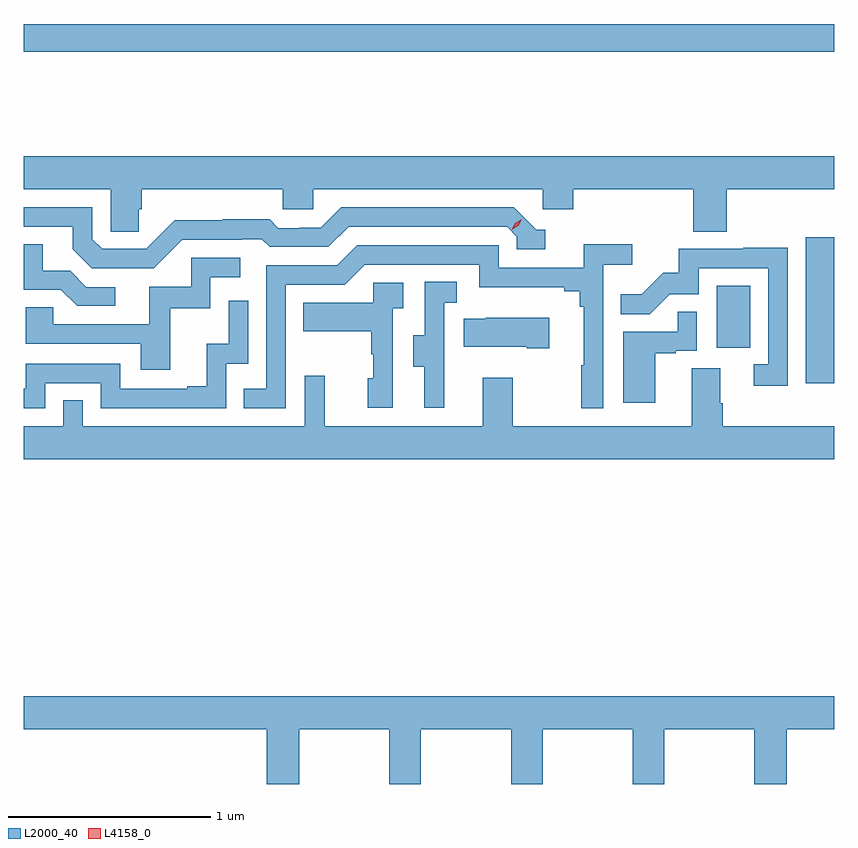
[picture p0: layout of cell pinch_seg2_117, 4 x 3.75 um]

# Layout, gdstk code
import gdstk
lib = gdstk.Library(unit=1e-6, precision=1e-09)
def R(c, l, rs):  # rectangles x0, y0, x1, y1
    for r in rs: c.add(gdstk.rectangle(r[:2], r[2:], *l))
def P(c, l, *ps):  # polygons
    for p in ps: c.add(gdstk.Polygon(p, *l))
L2000_40 = (2000, 40)
L4158_0 = (4158, 0)

pinch_seg2_117 = lib.new_cell('pinch_seg2_117')
R(pinch_seg2_117, L2000_40, [(1026.716,630.696,1026.858,631.417), (1026.278,630.87,1026.442,631.177), (1022.858,632.332,1026.858,632.468)])
P(pinch_seg2_117, L2000_40, [(1023.425,631.554),(1023.44,631.554),(1023.44,631.652),(1024.137,631.652),(1024.137,631.554),(1024.287,631.554),(1024.287,631.652),(1025.418,631.652),(1025.418,631.554),(1025.57,631.554),(1025.57,631.652),(1026.161,631.652),(1026.161,631.444),(1026.326,631.444),(1026.326,631.652),(1026.858,631.652),(1026.858,631.816),(1022.858,631.816),(1022.858,631.652),(1023.288,631.652),(1023.288,631.444),(1023.425,631.444)],
  [(1023.642,631.404),(1023.935,631.404),(1023.935,631.407),(1024.034,631.407),(1024.073,631.368),(1024.362,631.368),(1024.461,631.467),(1025.244,631.467),(1025.292,631.419),(1025.292,631.356),(1025.431,631.356),(1025.431,631.452),(1025.388,631.452),(1025.277,631.563),(1024.424,631.563),(1024.325,631.464),(1024.218,631.464),(1024.218,631.461),(1024.115,631.461),(1024.073,631.504),(1023.84,631.504),(1023.84,631.501),(1023.604,631.501),(1023.462,631.359),(1023.246,631.359),(1023.198,631.407),(1023.198,631.563),(1022.858,631.563),(1022.858,631.467),(1023.101,631.467),(1023.101,631.357),(1023.195,631.263),(1023.501,631.263)],
  [(1024.152,631.182),(1024.443,631.182),(1024.542,631.281),(1025.106,631.281),(1025.106,631.169),(1025.525,631.169),(1025.525,631.15),(1025.602,631.15),(1025.602,631.073),(1025.621,631.073),(1025.621,630.785),(1025.61,630.785),(1025.61,630.573),(1025.718,630.573),(1025.718,631.28),(1025.86,631.28),(1025.86,631.382),(1025.621,631.382),(1025.621,631.266),(1025.202,631.266),(1025.202,631.377),(1024.505,631.377),(1024.406,631.278),(1024.056,631.278),(1024.056,630.669),(1023.943,630.669),(1023.943,630.573),(1024.152,630.573)],
  [(1023.31,631.17),(1023.168,631.17),(1023.088,631.25),(1022.953,631.25),(1022.953,631.382),(1022.858,631.382),(1022.858,631.158),(1023.041,631.158),(1023.122,631.077),(1023.31,631.077)],
  [(1026.627,631.364),(1026.409,631.364),(1026.409,631.359),(1026.091,631.359),(1026.091,631.242),(1026.014,631.242),(1025.907,631.135),(1025.803,631.135),(1025.803,631.036),(1025.947,631.036),(1026.045,631.134),(1026.189,631.134),(1026.189,631.263),(1026.531,631.263),(1026.531,630.789),(1026.459,630.789),(1026.459,630.684),(1026.627,630.684)],
  [(1023.581,631.065),(1023.78,631.065),(1023.78,631.218),(1023.928,631.218),(1023.928,631.314),(1023.684,631.314),(1023.684,631.173),(1023.479,631.173),(1023.479,630.987),(1023.005,630.987),(1023.005,631.071),(1022.868,631.071),(1022.868,630.891),(1023.437,630.891),(1023.437,630.762),(1023.581,630.762)],
  [(1024.934,630.789),(1024.932,630.789),(1024.932,631.093),(1024.996,631.093),(1024.996,631.196),(1024.836,631.196),(1024.836,630.933),(1024.781,630.933),(1024.781,630.778),(1024.835,630.778),(1024.835,630.576),(1024.934,630.576)],
  [(1024.68,631.067),(1024.732,631.067),(1024.732,631.191),(1024.584,631.191),(1024.584,631.093),(1024.237,631.093),(1024.237,630.953),(1024.572,630.953),(1024.572,630.839),(1024.582,630.839),(1024.582,630.72),(1024.556,630.72),(1024.556,630.576),(1024.68,630.576)],
  [(1022.964,630.696),(1023.24,630.696),(1023.24,630.573),(1023.858,630.573),(1023.858,630.792),(1023.966,630.792),(1023.966,631.102),(1023.87,631.102),(1023.87,630.89),(1023.761,630.89),(1023.761,630.682),(1023.665,630.682),(1023.665,630.669),(1023.336,630.669),(1023.336,630.792),(1022.868,630.792),(1022.868,630.669),(1022.858,630.669),(1022.858,630.573),(1022.964,630.573)],
  [(1025.974,630.843),(1026.074,630.843),(1026.074,630.855),(1026.18,630.855),(1026.18,631.049),(1026.085,631.049),(1026.085,630.951),(1025.816,630.951),(1025.816,630.6),(1025.974,630.6)],
  [(1025.452,631.018),(1025.137,631.018),(1025.137,631.015),(1025.029,631.015),(1025.029,630.875),(1025.339,630.875),(1025.339,630.868),(1025.452,630.868)],
  [(1026.858,630.484),(1026.308,630.484),(1026.308,630.596),(1026.295,630.596),(1026.295,630.77),(1026.155,630.77),(1026.155,630.484),(1025.271,630.484),(1025.271,630.724),(1025.123,630.724),(1025.123,630.484),(1024.343,630.484),(1024.343,630.733),(1024.245,630.733),(1024.245,630.484),(1023.15,630.484),(1023.15,630.611),(1023.054,630.611),(1023.054,630.484),(1022.858,630.484),(1022.858,630.32),(1026.858,630.32)],
  [(1024.218,628.988),(1024.663,628.988),(1024.663,628.719),(1024.818,628.719),(1024.818,628.988),(1025.263,628.988),(1025.263,628.719),(1025.418,628.719),(1025.418,628.988),(1025.863,628.988),(1025.863,628.719),(1026.018,628.719),(1026.018,628.988),(1026.463,628.988),(1026.463,628.719),(1026.623,628.719),(1026.623,628.988),(1026.858,628.988),(1026.858,629.152),(1022.858,629.152),(1022.858,628.988),(1024.058,628.988),(1024.058,628.719),(1024.218,628.719)])
P(pinch_seg2_117, L4158_0, [(1025.267,631.454),(1025.267,631.454),(1025.284,631.486),(1025.315,631.506),(1025.315,631.506),(1025.315,631.505),(1025.298,631.473),(1025.267,631.454)])

lib.write_gds('pinch_seg2_117.gds')
